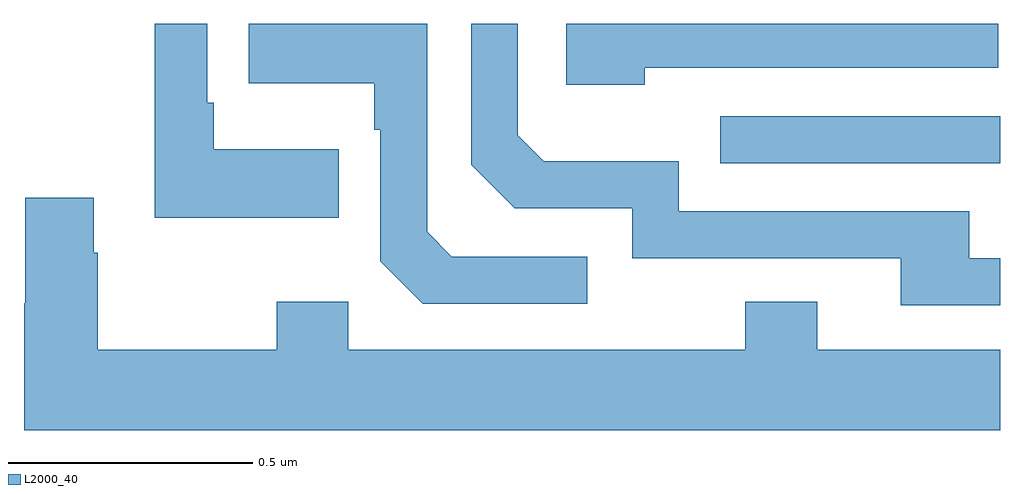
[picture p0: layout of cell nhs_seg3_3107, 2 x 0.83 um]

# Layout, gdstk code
import gdstk
lib = gdstk.Library(unit=1e-6, precision=1e-09)
def R(c, l, rs):  # rectangles x0, y0, x1, y1
    for r in rs: c.add(gdstk.rectangle(r[:2], r[2:], *l))
def P(c, l, *ps):  # polygons
    for p in ps: c.add(gdstk.Polygon(p, *l))
L2000_40 = (2000, 40)

nhs_seg3_3107 = lib.new_cell('nhs_seg3_3107')
R(nhs_seg3_3107, L2000_40, [(150.427,716.115,151,716.211)])
P(nhs_seg3_3107, L2000_40, [(151,715.92),(150.937,715.92),(150.937,716.016),(150.342,716.016),(150.342,716.119),(150.065,716.119),(150.012,716.172),(150.012,716.4),(149.916,716.4),(149.916,716.112),(150.006,716.022),(150.246,716.022),(150.246,715.92),(150.797,715.92),(150.797,715.824),(151,715.824)],
  [(150.272,716.31),(150.996,716.31),(150.996,716.4),(150.111,716.4),(150.111,716.276),(150.272,716.276)],
  [(150.154,715.923),(149.877,715.923),(149.826,715.974),(149.826,716.4),(149.461,716.4),(149.461,716.279),(149.718,716.279),(149.718,716.183),(149.73,716.183),(149.73,715.914),(149.817,715.827),(150.154,715.827)],
  [(149.645,716.143),(149.389,716.143),(149.389,716.239),(149.376,716.239),(149.376,716.4),(149.268,716.4),(149.268,716.003),(149.645,716.003)],
  [(151,715.732),(150.625,715.732),(150.625,715.831),(150.478,715.831),(150.478,715.732),(149.664,715.732),(149.664,715.831),(149.518,715.831),(149.518,715.732),(149.151,715.732),(149.151,715.931),(149.143,715.931),(149.143,716.044),(149.003,716.044),(149.003,715.828),(149,715.828),(149,715.568),(151,715.568)])

lib.write_gds('nhs_seg3_3107.gds')
